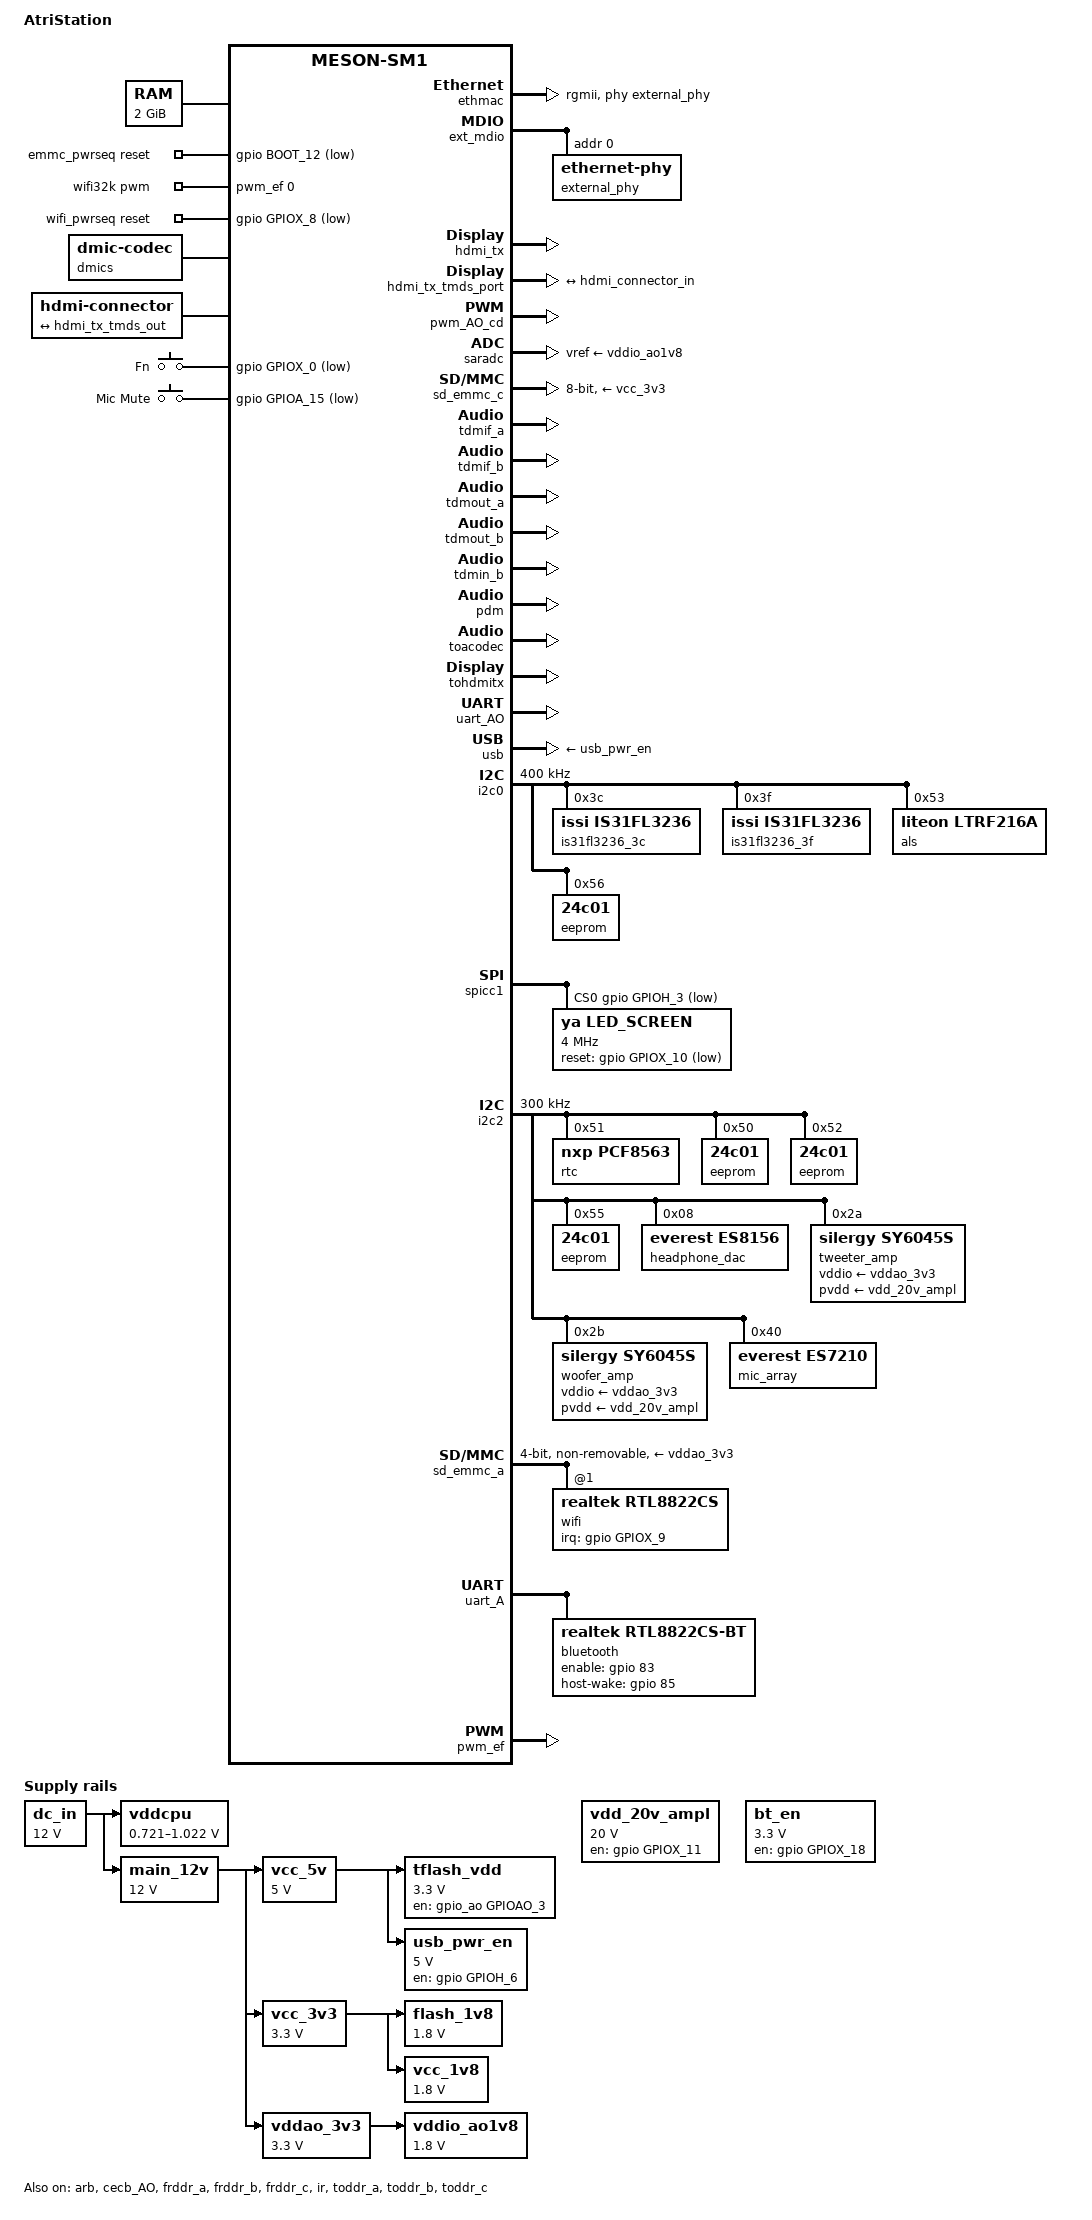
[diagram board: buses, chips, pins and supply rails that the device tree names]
// SPDX-License-Identifier: (GPL-2.0+ OR MIT)
/*
 * Copyright (c) 2024 AtriMods
 * Author: Lefty <leftymods@gmail.com>
 *
 * AtriStation - Amlogic S905X3-based smart display board
 * Based on Yandex Station Max (g12a_s905x2_rev375f) with S905X3 SoC replacement
 * Features: HDMI, 24-LED RGB ring, 4x PDM mics, SY6045S stereo+woofer, WiFi/BT
 */

/dts-v1/;

#include "meson-sm1.dtsi"
#include <dt-bindings/gpio/meson-g12a-gpio.h>
#include <dt-bindings/leds/common.h>
#include <dt-bindings/clock/axg-audio-clkc.h>
#include <dt-bindings/sound/meson-g12a-toacodec.h>
#include <dt-bindings/sound/meson-g12a-tohdmitx.h>
#include <dt-bindings/input/linux-event-codes.h>

/ {
	compatible = "atristation,atristation", "amlogic,sm1";
	model = "AtriStation";

	aliases {
		serial0 = &uart_AO;
		serial4 = &uart_A;
		ethernet0 = &ethmac;
		led-controller0 = &is31fl3236_3c;
		led-controller1 = &is31fl3236_3f;
	};

	chosen {
		stdout-path = "serial0:115200n8";
	};

	memory@0 {
		device_type = "memory";
		reg = <0x0 0x0 0x0 0x80000000>;
	};

	emmc_pwrseq: emmc-pwrseq {
		compatible = "mmc-pwrseq-emmc";
		reset-gpios = <&gpio BOOT_12 GPIO_ACTIVE_LOW>;
	};

	vddcpu: regulator-vddcpu {
		compatible = "pwm-regulator";
		pwms = <&pwm_AO_cd 1 1500 0>;
		pwm-dutycycle-range = <100 0>;
		regulator-name = "VDDCPU";
		regulator-min-microvolt = <721000>;
		regulator-max-microvolt = <1022000>;
		regulator-boot-on;
		regulator-always-on;
		vin-supply = <&dc_in>;
	};

	tflash_vdd: regulator-tflash_vdd {
		compatible = "regulator-fixed";
		regulator-name = "TFLASH_VDD";
		regulator-min-microvolt = <3300000>;
		regulator-max-microvolt = <3300000>;
		vin-supply = <&vcc_5v>;
		gpio = <&gpio_ao GPIOAO_3 GPIO_ACTIVE_HIGH>;
		enable-active-high;
		regulator-boot-on;
		regulator-always-on;
	};

	flash_1v8: regulator-flash_1v8 {
		compatible = "regulator-fixed";
		regulator-name = "FLASH_1V8";
		regulator-min-microvolt = <1800000>;
		regulator-max-microvolt = <1800000>;
		vin-supply = <&vcc_3v3>;
		regulator-boot-on;
	};

	main_12v: regulator-main_12v {
		compatible = "regulator-fixed";
		regulator-name = "MAIN_12V";
		regulator-min-microvolt = <12000000>;
		regulator-max-microvolt = <12000000>;
		vin-supply = <&dc_in>;
		regulator-boot-on;
	};

	vcc_5v: regulator-vcc_5v {
		compatible = "regulator-fixed";
		regulator-name = "VCC_5V";
		regulator-min-microvolt = <5000000>;
		regulator-max-microvolt = <5000000>;
		vin-supply = <&main_12v>;
		regulator-boot-on;
	};

	vcc_1v8: regulator-vcc_1v8 {
		compatible = "regulator-fixed";
		regulator-name = "VCC_1V8";
		regulator-min-microvolt = <1800000>;
		regulator-max-microvolt = <1800000>;
		vin-supply = <&vcc_3v3>;
		regulator-always-on;
	};

	vcc_3v3: regulator-vcc_3v3 {
		compatible = "regulator-fixed";
		regulator-name = "VCC_3V3";
		regulator-min-microvolt = <3300000>;
		regulator-max-microvolt = <3300000>;
		vin-supply = <&main_12v>;
		regulator-boot-on;
	};

	vddao_3v3: regulator-vddao_3v3 {
		compatible = "regulator-fixed";
		regulator-name = "VDDAO_3V3";
		regulator-min-microvolt = <3300000>;
		regulator-max-microvolt = <3300000>;
		vin-supply = <&main_12v>;
		regulator-boot-on;
	};

	dc_in: regulator-dc_in {
		compatible = "regulator-fixed";
		regulator-name = "DC_IN";
		regulator-min-microvolt = <12000000>;
		regulator-max-microvolt = <12000000>;
		regulator-boot-on;
	};

	vddio_ao1v8: regulator-vddio-ao1v8 {
		compatible = "regulator-fixed";
		regulator-name = "VDDIO_AO1V8";
		regulator-min-microvolt = <1800000>;
		regulator-max-microvolt = <1800000>;
		vin-supply = <&vddao_3v3>;
		regulator-always-on;
	};

	/* 20V amplifier supply for SY6045S (PVDD) */
	vdd_20v_ampl: regulator-20v-ampl {
		compatible = "regulator-fixed";
		regulator-name = "20V_AMPL";
		regulator-min-microvolt = <20000000>;
		regulator-max-microvolt = <20000000>;
		gpio = <&gpio GPIOX_11 GPIO_ACTIVE_HIGH>;
		enable-active-high;
		regulator-boot-on;
		regulator-always-on;
	};

	/* Bluetooth enable */
	bt_en: regulator-bt-en {
		compatible = "regulator-fixed";
		regulator-name = "BT_EN";
		regulator-min-microvolt = <3300000>;
		regulator-max-microvolt = <3300000>;
		gpio = <&gpio GPIOX_18 GPIO_ACTIVE_HIGH>;
		enable-active-high;
		regulator-boot-on;
		regulator-always-on;
	};

	/* USB power enable */
	usb_pwr_en: regulator-usb-pwr-en {
		compatible = "regulator-fixed";
		regulator-name = "USB_PWR_EN";
		regulator-min-microvolt = <5000000>;
		regulator-max-microvolt = <5000000>;
		vin-supply = <&vcc_5v>;
		gpio = <&gpio GPIOH_6 GPIO_ACTIVE_HIGH>;
		enable-active-high;
		regulator-boot-on;
		regulator-always-on;
	};

	/* 32kHz clock for WiFi via PWM_E */
	wifi32k: wifi32k {
		compatible = "pwm-clock";
		#clock-cells = <0>;
		clock-output-names = "wifi_32k";
		pwms = <&pwm_ef 0 30518 0>;
	};

	wifi_pwrseq: wifi-pwrseq {
		compatible = "mmc-pwrseq-simple";
		reset-gpios = <&gpio GPIOX_8 GPIO_ACTIVE_LOW>;
		clocks = <&wifi32k>;
		clock-names = "ext_clock";
		post-power-on-delay-ms = <200>;
	};
	/* PDM microphone array (4 channels) */
	dmics: dmic-codec {
		#sound-dai-cells = <0>;
		compatible = "dmic-codec";
		num-channels = <4>;
		sound-name-prefix = "DMIC";
	};

	/* HDMI connector */
	hdmi-connector {
		compatible = "hdmi-connector";
		type = "a";

		port {
			hdmi_connector_in: endpoint {
				remote-endpoint = <&hdmi_tx_tmds_out>;
			};
		};
	};

	gpio-keys {
		compatible = "gpio-keys";
		poll-interval = <100>;

		function-key {
			label = "Fn";
			gpios = <&gpio GPIOX_0 GPIO_ACTIVE_LOW>;
			linux,code = <KEY_FN>;
		};

		micmute-key {
			label = "Mic Mute";
			gpios = <&gpio GPIOA_15 GPIO_ACTIVE_LOW>;
			linux,code = <KEY_MICMUTE>;
		};
	};


	sound {
		compatible = "amlogic,axg-sound-card";
		model = "ATRISTATION";
		audio-aux-devs = <&tdmout_b>, <&tdmin_b>, <&dmics>;
		playback_channels = <2>;
		capture_channels = <4>;

		audio-routing = "TDMOUT_B IN 0", "FRDDR_A OUT 1",
				"TDMOUT_B IN 1", "FRDDR_B OUT 1",
				"TDMOUT_B IN 2", "FRDDR_C OUT 1",
				"TDM_B Playback", "TDMOUT_B OUT",
				"TDMIN_B IN 1", "TDM_B Capture",
				"TDMIN_B IN 4", "TDM_B Loopback",
				"TODDR_A IN 1", "TDMIN_B OUT",
				"TODDR_B IN 1", "TDMIN_B OUT",
				"TODDR_C IN 1", "TDMIN_B OUT",
				"TODDR_A IN 4", "PDM Capture",
				"TODDR_B IN 4", "PDM Capture",
				"TODDR_C IN 4", "PDM Capture";

		clocks = <&clkc CLKID_MPLL2>,
			 <&clkc CLKID_MPLL0>,
			 <&clkc CLKID_MPLL1>;

		assigned-clocks = <&clkc CLKID_MPLL2>,
				  <&clkc CLKID_MPLL0>,
				  <&clkc CLKID_MPLL1>;
		assigned-clock-rates = <294912000>,
				       <270950400>,
				       <393216000>;
		assigned-clocks = <&clkc_audio AUD_CLKID_TDM_MCLK_PAD0>,
			  <&clkc_audio AUD_CLKID_TDM_SCLK_PAD1>,
			  <&clkc_audio AUD_CLKID_TDM_LRCLK_PAD1>;
		assigned-clock-parents = <&clkc_audio AUD_CLKID_MST_B_MCLK>,
				   <&clkc_audio AUD_CLKID_MST_B_SCLK>,
				   <&clkc_audio AUD_CLKID_MST_B_LRCLK>;

		dai-link-0 {
			sound-dai = <&frddr_a>;
		};

		dai-link-1 {
			sound-dai = <&frddr_b>;
		};

		dai-link-2 {
			sound-dai = <&frddr_c>;
		};

		/*
		 * Main I2S/TDM bus (tdmif_b):
		 *   - TX lane 2 (dout2): SY6045S woofer (slot 0) + tweeters (slot 1)
		 *   - TX lane 2 (dout2): ES8156 headphone (slot 0-1, shared with SY6045S)
		 *   - RX lane 0 (din0):  ES7210 mic array capture (slot 0-1)
		 *
		 * All playback codecs share the same 2 I2S slots,
		 * each picks its data via sound-name-prefix.
		 */
		dai-link-3 {
			sound-dai = <&tdmif_b>;
			dai-format = "i2s";
			bitclock-master = <&tdmif_b>;
			frame-master = <&tdmif_b>;
			dai-tdm-slot-tx-mask-2 = <1 1>;
			dai-tdm-slot-rx-mask-0 = <1 1>;
			mclk-fs = <256>;

			codec-0 {
				sound-dai = <&headphone_dac>;
			};

			codec-1 {
				sound-dai = <&tweeter_amp>;
			};

			codec-2 {
				sound-dai = <&woofer_amp>;
			};

			codec-3 {
				sound-dai = <&mic_array>;
			};
		};

		/* PDM capture (TODDR) */
		dai-link-4 {
			sound-dai = <&toddr_a>;
		};

		dai-link-5 {
			sound-dai = <&toddr_b>;
		};

		dai-link-6 {
			sound-dai = <&toddr_c>;
		};

		/* HDMI playback on TDMA */
		dai-link-7 {
			sound-dai = <&tdmif_a>;
			dai-format = "i2s";
			dai-tdm-slot-tx-mask-0 = <1 1>;
			mclk-fs = <256>;

			codec {
				sound-dai = <&tohdmitx TOHDMITX_I2S_IN_A>;
			};
		};

		/* HDMI glue */
		dai-link-8 {
			sound-dai = <&tohdmitx TOHDMITX_I2S_OUT>;

			codec {
				sound-dai = <&hdmi_tx>;
			};
		};

		/* PDM capture (digital microphones) */
		dai-link-9 {
			sound-dai = <&pdm>;
			dai-format = "pdm";
			codec {
				sound-dai = <&dmics>;
			};
		};
	};

	/* RGB LED ring - 24 multicolor groups */
	ring0: rgb0 {
		compatible = "leds-group-multicolor";
		color = <LED_COLOR_ID_RGB>;
		label = "ring0";
		leds = <&led_3c_red0>, <&led_3c_green0>, <&led_3c_blue0>;
	};
	ring1: rgb1 {
		compatible = "leds-group-multicolor";
		color = <LED_COLOR_ID_RGB>;
		label = "ring1";
		leds = <&led_3c_red1>, <&led_3c_green1>, <&led_3c_blue1>;
	};
	ring2: rgb2 {
		compatible = "leds-group-multicolor";
		color = <LED_COLOR_ID_RGB>;
		label = "ring2";
		leds = <&led_3c_red2>, <&led_3c_green2>, <&led_3c_blue2>;
	};
	ring3: rgb3 {
		compatible = "leds-group-multicolor";
		color = <LED_COLOR_ID_RGB>;
		label = "ring3";
		leds = <&led_3c_red3>, <&led_3c_green3>, <&led_3c_blue3>;
	};
	ring4: rgb4 {
		compatible = "leds-group-multicolor";
		color = <LED_COLOR_ID_RGB>;
		label = "ring4";
		leds = <&led_3c_red4>, <&led_3c_green4>, <&led_3c_blue4>;
	};
	ring5: rgb5 {
		compatible = "leds-group-multicolor";
		color = <LED_COLOR_ID_RGB>;
		label = "ring5";
		leds = <&led_3c_red5>, <&led_3c_green5>, <&led_3c_blue5>;
	};
	ring6: rgb6 {
		compatible = "leds-group-multicolor";
		color = <LED_COLOR_ID_RGB>;
		label = "ring6";
		leds = <&led_3c_red6>, <&led_3c_green6>, <&led_3c_blue6>;
	};
	ring7: rgb7 {
		compatible = "leds-group-multicolor";
		color = <LED_COLOR_ID_RGB>;
		label = "ring7";
		leds = <&led_3c_red7>, <&led_3c_green7>, <&led_3c_blue7>;
	};
	ring8: rgb8 {
		compatible = "leds-group-multicolor";
		color = <LED_COLOR_ID_RGB>;
		label = "ring8";
		leds = <&led_3c_red8>, <&led_3c_green8>, <&led_3c_blue8>;
	};
	ring9: rgb9 {
		compatible = "leds-group-multicolor";
		color = <LED_COLOR_ID_RGB>;
		label = "ring9";
		leds = <&led_3c_red9>, <&led_3c_green9>, <&led_3c_blue9>;
	};
	ring10: rgb10 {
		compatible = "leds-group-multicolor";
		color = <LED_COLOR_ID_RGB>;
		label = "ring10";
		leds = <&led_3c_red10>, <&led_3c_green10>, <&led_3c_blue10>;
	};
	ring11: rgb11 {
		compatible = "leds-group-multicolor";
		color = <LED_COLOR_ID_RGB>;
		label = "ring11";
		leds = <&led_3c_red11>, <&led_3c_green11>, <&led_3c_blue11>;
	};
	ring12: rgb12 {
		compatible = "leds-group-multicolor";
		color = <LED_COLOR_ID_RGB>;
		label = "ring12";
		leds = <&led_3f_red12>, <&led_3f_green12>, <&led_3f_blue12>;
	};
	ring13: rgb13 {
		compatible = "leds-group-multicolor";
		color = <LED_COLOR_ID_RGB>;
		label = "ring13";
		leds = <&led_3f_red13>, <&led_3f_green13>, <&led_3f_blue13>;
	};
	ring14: rgb14 {
		compatible = "leds-group-multicolor";
		color = <LED_COLOR_ID_RGB>;
		label = "ring14";
		leds = <&led_3f_red14>, <&led_3f_green14>, <&led_3f_blue14>;
	};
	ring15: rgb15 {
		compatible = "leds-group-multicolor";
		color = <LED_COLOR_ID_RGB>;
		label = "ring15";
		leds = <&led_3f_red15>, <&led_3f_green15>, <&led_3f_blue15>;
	};
	ring16: rgb16 {
		compatible = "leds-group-multicolor";
		color = <LED_COLOR_ID_RGB>;
		label = "ring16";
		leds = <&led_3f_red16>, <&led_3f_green16>, <&led_3f_blue16>;
	};
	ring17: rgb17 {
		compatible = "leds-group-multicolor";
		color = <LED_COLOR_ID_RGB>;
		label = "ring17";
		leds = <&led_3f_red17>, <&led_3f_green17>, <&led_3f_blue17>;
	};
	ring18: rgb18 {
		compatible = "leds-group-multicolor";
		color = <LED_COLOR_ID_RGB>;
		label = "ring18";
		leds = <&led_3f_red18>, <&led_3f_green18>, <&led_3f_blue18>;
	};
	ring19: rgb19 {
		compatible = "leds-group-multicolor";
		color = <LED_COLOR_ID_RGB>;
		label = "ring19";
		leds = <&led_3f_red19>, <&led_3f_green19>, <&led_3f_blue19>;
	};
	ring20: rgb20 {
		compatible = "leds-group-multicolor";
		color = <LED_COLOR_ID_RGB>;
		label = "ring20";
		leds = <&led_3f_red20>, <&led_3f_green20>, <&led_3f_blue20>;
	};
	ring21: rgb21 {
		compatible = "leds-group-multicolor";
		color = <LED_COLOR_ID_RGB>;
		label = "ring21";
		leds = <&led_3f_red21>, <&led_3f_green21>, <&led_3f_blue21>;
	};
	ring22: rgb22 {
		compatible = "leds-group-multicolor";
		color = <LED_COLOR_ID_RGB>;
		label = "ring22";
		leds = <&led_3f_red22>, <&led_3f_green22>, <&led_3f_blue22>;
	};
	ring23: rgb23 {
		compatible = "leds-group-multicolor";
		color = <LED_COLOR_ID_RGB>;
		label = "ring23";
		leds = <&led_3f_red23>, <&led_3f_green23>, <&led_3f_blue23>;
	};
};

&arb {
	status = "okay";
};

&cec_AO {
	pinctrl-0 = <&cec_ao_a_h_pins>;
	pinctrl-names = "default";
	status = "disabled";
	hdmi-phandle = <&hdmi_tx>;
};

&cecb_AO {
	pinctrl-0 = <&cec_ao_b_h_pins>;
	pinctrl-names = "default";
	status = "okay";
	hdmi-phandle = <&hdmi_tx>;
};

&clk_msr {
	status = "okay";
};

&clkc_audio {
	status = "okay";
};

&cpu0 {
	cpu-supply = <&vddcpu>;
};

&cpu1 {
	cpu-supply = <&vddcpu>;
};

&cpu2 {
	cpu-supply = <&vddcpu>;
};

&cpu3 {
	cpu-supply = <&vddcpu>;
};

&ethmac {
	status = "okay";
	pinctrl-0 = <&eth_pins>, <&eth_rgmii_pins>;
	pinctrl-names = "default";
	phy-mode = "rgmii";
	phy-handle = <&external_phy>;
	amlogic,tx-delay-ns = <2>;
};

&ext_mdio {
	external_phy: ethernet-phy@0 {
		reg = <0>;
		max-speed = <1000>;
	};
};

&frddr_a {
	status = "okay";
};

&frddr_b {
	status = "okay";
};

&frddr_c {
	status = "okay";
};

&hdmi_tx {
	status = "okay";
	pinctrl-0 = <&hdmitx_hpd_pins>, <&hdmitx_ddc_pins>;
	pinctrl-names = "default";
	hdmi-supply = <&vcc_5v>;
};

&hdmi_tx_tmds_port {
	hdmi_tx_tmds_out: endpoint {
		remote-endpoint = <&hdmi_connector_in>;
	};
};

&ir {
	status = "okay";
	pinctrl-0 = <&remote_input_ao_pins>;
	pinctrl-names = "default";
};

&pwm_AO_ab {
	pinctrl-0 = <&pwm_ao_a_pins>;
	pinctrl-names = "default";
};

&pwm_AO_cd {
	pinctrl-0 = <&pwm_ao_d_e_pins>;
	pinctrl-names = "default";
	status = "okay";
};

&saradc {
	status = "okay";
	vref-supply = <&vddio_ao1v8>;
};

&sd_emmc_b {
	status = "disabled";
};

&sd_emmc_c {
	status = "okay";
	pinctrl-0 = <&emmc_ctrl_pins>, <&emmc_data_8b_pins>, <&emmc_ds_pins>;
	pinctrl-1 = <&emmc_clk_gate_pins>;
	pinctrl-names = "default", "clk-gate";
	bus-width = <8>;
	cap-mmc-highspeed;
	mmc-ddr-1_8v;
	mmc-hs200-1_8v;
	max-frequency = <200000000>;
	disable-wp;
	mmc-pwrseq = <&emmc_pwrseq>;
	vmmc-supply = <&vcc_3v3>;
	vqmmc-supply = <&flash_1v8>;
};

&tdmif_a {
	status = "okay";
	pinctrl-0 = <&tdm_a_dout0_pins>, <&tdm_a_din0_pins>,
		    <&tdm_a_fs_pins>, <&tdm_a_sclk_pins>;
	pinctrl-names = "default";
};

&tdmif_b {
	status = "okay";
	pinctrl-0 = <&tdm_ao_b_dout2_pins>, <&tdm_ao_b_din0_pins>,
		    <&tdm_ao_b_fs_pins>, <&tdm_ao_b_sclk_pins>,
		    <&mclk0_ao_pins>;
	pinctrl-names = "default";
};

&tdmout_a {
	status = "okay";
};

&tdmout_b {
	status = "okay";
};

&tdmin_b {
	status = "okay";
};

&toddr_a {
	status = "okay";
};

&toddr_b {
	status = "okay";
};

&toddr_c {
	status = "okay";
};

&pdm {
	status = "okay";
	pinctrl-0 = <&pdm_dclk_a_pins>, <&pdm_din0_a_pins>,
		    <&pdm_din1_a_pins>, <&pdm_din2_a_pins>,
		    <&pdm_din3_a_pins>;
	pinctrl-names = "default";
};

&toacodec {
	status = "okay";
};

&tohdmitx {
	status = "okay";
};

&uart_AO {
	status = "okay";
	pinctrl-0 = <&uart_ao_a_pins>;
	pinctrl-names = "default";
};

&usb {
	status = "okay";
	vbus-supply = <&usb_pwr_en>;
};

/*
 * I2C0 (C-pins):
 *   - 2x IS31FL3236 LED ring controllers (0x3c, 0x3f)
 *   - LTR308 ambient light sensor (0x53)
 *   - EEPROMs (0x52, 0x56)
 */
&i2c0 {
	status = "okay";
	pinctrl-0 = <&i2c0_sda_c_pins>, <&i2c0_sck_c_pins>;
	pinctrl-names = "default";
	clock-frequency = <400000>;

	is31fl3236_3c: led-controller@3c {
		compatible = "issi,is31fl3236";
		reg = <0x3c>;
		#address-cells = <1>;
		#size-cells = <0>;
		status = "okay";

		led_3c_red0: led@1 {
			reg = <1>;
			color = <LED_COLOR_ID_BLUE>;
			label = "ring0-blue";
		};
		led_3c_green0: led@2 {
			reg = <2>;
			color = <LED_COLOR_ID_GREEN>;
			label = "ring0-green";
		};
		led_3c_blue0: led@3 {
			reg = <3>;
			color = <LED_COLOR_ID_RED>;
			label = "ring0-red";
		};
		led_3c_red1: led@4 {
			reg = <4>;
			color = <LED_COLOR_ID_BLUE>;
			label = "ring1-blue";
		};
		led_3c_green1: led@5 {
			reg = <5>;
			color = <LED_COLOR_ID_GREEN>;
			label = "ring1-green";
		};
		led_3c_blue1: led@6 {
			reg = <6>;
			color = <LED_COLOR_ID_RED>;
			label = "ring1-red";
		};
		led_3c_red2: led@7 {
			reg = <7>;
			color = <LED_COLOR_ID_BLUE>;
			label = "ring2-blue";
		};
		led_3c_green2: led@8 {
			reg = <8>;
			color = <LED_COLOR_ID_GREEN>;
			label = "ring2-green";
		};
		led_3c_blue2: led@9 {
			reg = <9>;
			color = <LED_COLOR_ID_RED>;
			label = "ring2-red";
		};
		led_3c_red3: led@10 {
			reg = <10>;
			color = <LED_COLOR_ID_BLUE>;
			label = "ring3-blue";
		};
		led_3c_green3: led@11 {
			reg = <11>;
			color = <LED_COLOR_ID_GREEN>;
			label = "ring3-green";
		};
		led_3c_blue3: led@12 {
			reg = <12>;
			color = <LED_COLOR_ID_RED>;
			label = "ring3-red";
		};
		led_3c_red4: led@13 {
			reg = <13>;
			color = <LED_COLOR_ID_BLUE>;
			label = "ring4-blue";
		};
		led_3c_green4: led@14 {
			reg = <14>;
			color = <LED_COLOR_ID_GREEN>;
			label = "ring4-green";
		};
		led_3c_blue4: led@15 {
			reg = <15>;
			color = <LED_COLOR_ID_RED>;
			label = "ring4-red";
		};
		led_3c_red5: led@16 {
			reg = <16>;
			color = <LED_COLOR_ID_BLUE>;
			label = "ring5-blue";
		};
		led_3c_green5: led@17 {
			reg = <17>;
			color = <LED_COLOR_ID_GREEN>;
			label = "ring5-green";
		};
		led_3c_blue5: led@18 {
			reg = <18>;
			color = <LED_COLOR_ID_RED>;
			label = "ring5-red";
		};
		led_3c_red6: led@19 {
			reg = <19>;
			color = <LED_COLOR_ID_BLUE>;
			label = "ring6-blue";
		};
		led_3c_green6: led@20 {
			reg = <20>;
			color = <LED_COLOR_ID_GREEN>;
			label = "ring6-green";
		};
		led_3c_blue6: led@21 {
			reg = <21>;
			color = <LED_COLOR_ID_RED>;
			label = "ring6-red";
		};
		led_3c_red7: led@22 {
			reg = <22>;
			color = <LED_COLOR_ID_BLUE>;
			label = "ring7-blue";
		};
		led_3c_green7: led@23 {
			reg = <23>;
			color = <LED_COLOR_ID_GREEN>;
			label = "ring7-green";
		};
		led_3c_blue7: led@24 {
			reg = <24>;
			color = <LED_COLOR_ID_RED>;
			label = "ring7-red";
		};
		led_3c_red8: led@25 {
			reg = <25>;
			color = <LED_COLOR_ID_BLUE>;
			label = "ring8-blue";
		};
		led_3c_green8: led@26 {
			reg = <26>;
			color = <LED_COLOR_ID_GREEN>;
			label = "ring8-green";
		};
		led_3c_blue8: led@27 {
			reg = <27>;
			color = <LED_COLOR_ID_RED>;
			label = "ring8-red";
		};
		led_3c_red9: led@28 {
			reg = <28>;
			color = <LED_COLOR_ID_BLUE>;
			label = "ring9-blue";
		};
		led_3c_green9: led@29 {
			reg = <29>;
			color = <LED_COLOR_ID_GREEN>;
			label = "ring9-green";
		};
		led_3c_blue9: led@30 {
			reg = <30>;
			color = <LED_COLOR_ID_RED>;
			label = "ring9-red";
		};
		led_3c_red10: led@31 {
			reg = <31>;
			color = <LED_COLOR_ID_BLUE>;
			label = "ring10-blue";
		};
		led_3c_green10: led@32 {
			reg = <32>;
			color = <LED_COLOR_ID_GREEN>;
			label = "ring10-green";
		};
		led_3c_blue10: led@33 {
			reg = <33>;
			color = <LED_COLOR_ID_RED>;
			label = "ring10-red";
		};
		led_3c_red11: led@34 {
			reg = <34>;
			color = <LED_COLOR_ID_BLUE>;
			label = "ring11-blue";
		};
		led_3c_green11: led@35 {
			reg = <35>;
			color = <LED_COLOR_ID_GREEN>;
			label = "ring11-green";
		};
		led_3c_blue11: led@36 {
			reg = <36>;
			color = <LED_COLOR_ID_RED>;
			label = "ring11-red";
		};
	};

	is31fl3236_3f: led-controller@3f {
		compatible = "issi,is31fl3236";
		reg = <0x3f>;
		#address-cells = <1>;
		#size-cells = <0>;
		status = "okay";

		led_3f_red12: led@1 {
			reg = <1>;
			color = <LED_COLOR_ID_BLUE>;
			label = "ring12-blue";
		};
		led_3f_green12: led@2 {
			reg = <2>;
			color = <LED_COLOR_ID_GREEN>;
			label = "ring12-green";
		};
		led_3f_blue12: led@3 {
			reg = <3>;
			color = <LED_COLOR_ID_RED>;
			label = "ring12-red";
		};
		led_3f_red13: led@4 {
			reg = <4>;
			color = <LED_COLOR_ID_BLUE>;
			label = "ring13-blue";
		};
		led_3f_green13: led@5 {
			reg = <5>;
			color = <LED_COLOR_ID_GREEN>;
			label = "ring13-green";
		};
		led_3f_blue13: led@6 {
			reg = <6>;
			color = <LED_COLOR_ID_RED>;
			label = "ring13-red";
		};
		led_3f_red14: led@7 {
			reg = <7>;
			color = <LED_COLOR_ID_BLUE>;
			label = "ring14-blue";
		};
		led_3f_green14: led@8 {
			reg = <8>;
			color = <LED_COLOR_ID_GREEN>;
			label = "ring14-green";
		};
		led_3f_blue14: led@9 {
			reg = <9>;
			color = <LED_COLOR_ID_RED>;
			label = "ring14-red";
		};
		led_3f_red15: led@10 {
			reg = <10>;
			color = <LED_COLOR_ID_BLUE>;
			label = "ring15-blue";
		};
		led_3f_green15: led@11 {
			reg = <11>;
			color = <LED_COLOR_ID_GREEN>;
			label = "ring15-green";
		};
		led_3f_blue15: led@12 {
			reg = <12>;
			color = <LED_COLOR_ID_RED>;
			label = "ring15-red";
		};
		led_3f_red16: led@13 {
			reg = <13>;
			color = <LED_COLOR_ID_BLUE>;
			label = "ring16-blue";
		};
		led_3f_green16: led@14 {
			reg = <14>;
			color = <LED_COLOR_ID_GREEN>;
			label = "ring16-green";
		};
		led_3f_blue16: led@15 {
			reg = <15>;
			color = <LED_COLOR_ID_RED>;
			label = "ring16-red";
		};
		led_3f_red17: led@16 {
			reg = <16>;
			color = <LED_COLOR_ID_BLUE>;
			label = "ring17-blue";
		};
		led_3f_green17: led@17 {
			reg = <17>;
			color = <LED_COLOR_ID_GREEN>;
			label = "ring17-green";
		};
		led_3f_blue17: led@18 {
			reg = <18>;
			color = <LED_COLOR_ID_RED>;
			label = "ring17-red";
		};
		led_3f_red18: led@19 {
			reg = <19>;
			color = <LED_COLOR_ID_BLUE>;
			label = "ring18-blue";
		};
		led_3f_green18: led@20 {
			reg = <20>;
			color = <LED_COLOR_ID_GREEN>;
			label = "ring18-green";
		};
		led_3f_blue18: led@21 {
			reg = <21>;
			color = <LED_COLOR_ID_RED>;
			label = "ring18-red";
		};
		led_3f_red19: led@22 {
			reg = <22>;
			color = <LED_COLOR_ID_BLUE>;
			label = "ring19-blue";
		};
		led_3f_green19: led@23 {
			reg = <23>;
			color = <LED_COLOR_ID_GREEN>;
			label = "ring19-green";
		};
		led_3f_blue19: led@24 {
			reg = <24>;
			color = <LED_COLOR_ID_RED>;
			label = "ring19-red";
		};
		led_3f_red20: led@25 {
			reg = <25>;
			color = <LED_COLOR_ID_BLUE>;
			label = "ring20-blue";
		};
		led_3f_green20: led@26 {
			reg = <26>;
			color = <LED_COLOR_ID_GREEN>;
			label = "ring20-green";
		};
		led_3f_blue20: led@27 {
			reg = <27>;
			color = <LED_COLOR_ID_RED>;
			label = "ring20-red";
		};
		led_3f_red21: led@28 {
			reg = <28>;
			color = <LED_COLOR_ID_BLUE>;
			label = "ring21-blue";
		};
		led_3f_green21: led@29 {
			reg = <29>;
			color = <LED_COLOR_ID_GREEN>;
			label = "ring21-green";
		};
		led_3f_blue21: led@30 {
			reg = <30>;
			color = <LED_COLOR_ID_RED>;
			label = "ring21-red";
		};
		led_3f_red22: led@31 {
			reg = <31>;
			color = <LED_COLOR_ID_BLUE>;
			label = "ring22-blue";
		};
		led_3f_green22: led@32 {
			reg = <32>;
			color = <LED_COLOR_ID_GREEN>;
			label = "ring22-green";
		};
		led_3f_blue22: led@33 {
			reg = <33>;
			color = <LED_COLOR_ID_RED>;
			label = "ring22-red";
		};
		led_3f_red23: led@34 {
			reg = <34>;
			color = <LED_COLOR_ID_BLUE>;
			label = "ring23-blue";
		};
		led_3f_green23: led@35 {
			reg = <35>;
			color = <LED_COLOR_ID_GREEN>;
			label = "ring23-green";
		};
		led_3f_blue23: led@36 {
			reg = <36>;
			color = <LED_COLOR_ID_RED>;
			label = "ring23-red";
		};
	};

	als@53 {
		compatible = "liteon,ltrf216a";
		reg = <0x53>;
		status = "okay";
	};

	eeprom@56 {
		compatible = "24c01";
		reg = <0x56>;
	};
};

/* SPI1 - Quasar/AtriStation LED screen */
&spicc1 {
	status = "okay";
	pinctrl-0 = <&spicc1_pins>;
	pinctrl-names = "default";
	num-cs = <1>;
	cs-gpios = <&gpio GPIOH_3 GPIO_ACTIVE_LOW>;

	led_screen: led-screen@0 {
		compatible = "ya,led_screen", "linux,spidev";
		reg = <0>;
		spi-max-frequency = <4000000>;
		max-brightness = <200>;
		reset-gpios = <&gpio GPIOX_10 GPIO_ACTIVE_LOW>;
		status = "okay";
	};
};

/*
 * I2C2 (Z-pins):
 *   - SY6045S tweeters (0x2a) + woofer PBTL (0x2b)
 *   - ES8156 headphone DAC (0x08)
 *   - ES7210 feedback ADC (0x40)
 *   - PCF8563 RTC (0x51)
 */
&i2c2 {
	status = "okay";
	pinctrl-0 = <&i2c2_sda_z_pins>, <&i2c2_sck_z_pins>;
	pinctrl-names = "default";
	clock-frequency = <300000>;

	rtc@51 {
		compatible = "nxp,pcf8563";
		reg = <0x51>;
		status = "okay";
	};

	eeprom@50 {
		compatible = "24c01";
		reg = <0x50>;
	};

	eeprom@52 {
		compatible = "24c01";
		reg = <0x52>;
	};

	eeprom@55 {
		compatible = "24c01";
		reg = <0x55>;
	};

	headphone_dac: es8156@8 {
		compatible = "everest,es8156";
		reg = <0x08>;
		#sound-dai-cells = <0>;
		sound-name-prefix = "Headphone";
		status = "okay";
	};

	tweeter_amp: sy6045s@2a {
		compatible = "silergy,sy6045s";
		reg = <0x2a>;
		#sound-dai-cells = <0>;
		sound-name-prefix = "Tweeters";
		vddio-supply = <&vddao_3v3>;
		pvdd-supply = <&vdd_20v_ampl>;
		restore-regs = <0x07 0x01 0xff 0x06 0x01 0x08>;
		status = "okay";
	};

	woofer_amp: sy6045s@2b {
		compatible = "silergy,sy6045s";
		reg = <0x2b>;
		#sound-dai-cells = <0>;
		sound-name-prefix = "Woofer";
		pbtl-mode;
		vddio-supply = <&vddao_3v3>;
		pvdd-supply = <&vdd_20v_ampl>;
		restore-regs = <0x07 0x01 0xff 0x06 0x01 0x08>;
		status = "okay";
	};

	mic_array: es7210@40 {
		compatible = "everest,es7210";
		reg = <0x40>;
		#sound-dai-cells = <0>;
		clocks = <&clkc_audio AUD_CLKID_MST_B_MCLK>;
		clock-names = "mclk";
		status = "okay";
	};
};

&i2c3 {
	status = "disabled";
};

&sd_emmc_a {
	status = "okay";
	pinctrl-0 = <&sdio_pins>;
	pinctrl-names = "default";
	#address-cells = <1>;
	#size-cells = <0>;
	bus-width = <4>;
	cap-sd-highspeed;
	cap-sdio-irq;
	mmc-pwrseq = <&wifi_pwrseq>;
	max-frequency = <20000000>;
	non-removable;
	disable-wp;
	keep-power-in-suspend;
	vmmc-supply = <&vddao_3v3>;
	vqmmc-supply = <&vddio_ao1v8>;

	wifi@1 {
		reg = <1>;
		compatible = "realtek,rtl8822cs";
		interrupt-parent = <&gpio>;
		interrupts = <GPIOX_9 IRQ_TYPE_LEVEL_LOW>;
	};
};

&uart_A {
	status = "okay";
	pinctrl-0 = <&uart_a_pins>, <&uart_a_cts_rts_pins>;
	pinctrl-names = "default";
	uart-has-rtscts;

	bluetooth: bluetooth {
		compatible = "realtek,rtl8822cs-bt";
		enable-gpios = <&gpio 83 /* GPIOX_19 */ GPIO_ACTIVE_HIGH>;
		host-wake-gpios = <&gpio 85 /* GPIOX_21 */ GPIO_ACTIVE_HIGH>;
		max-speed = <3000000>;
	};
};

&pwm_ef {
	status = "okay";
	pinctrl-0 = <&pwm_e_pins>;
	pinctrl-names = "default";
};

